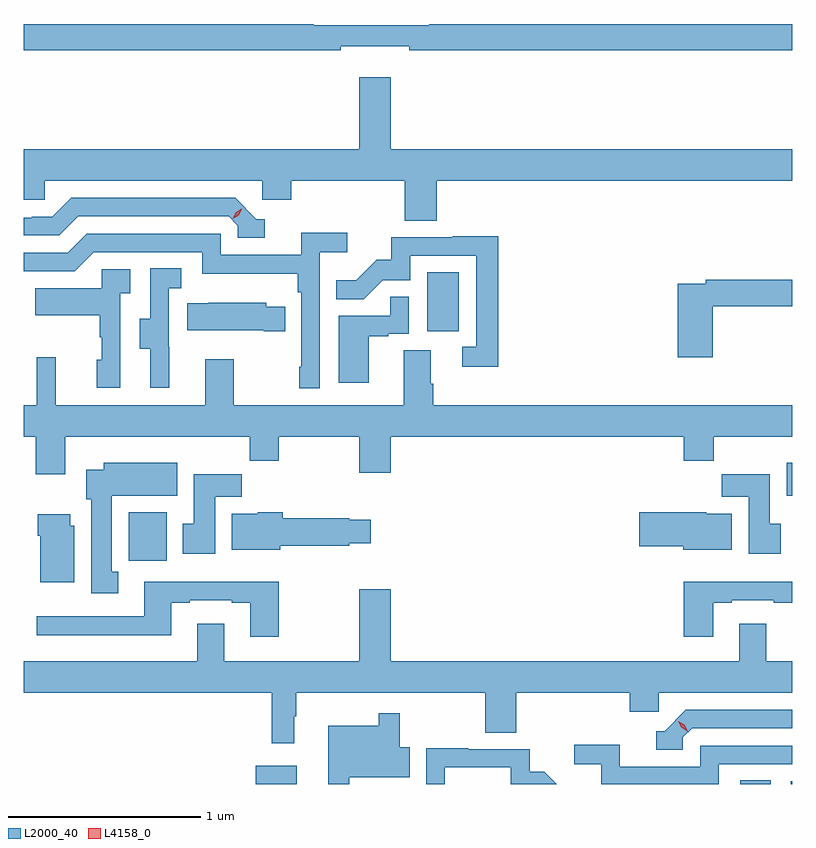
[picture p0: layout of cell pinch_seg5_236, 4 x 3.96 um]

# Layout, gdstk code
import gdstk
lib = gdstk.Library(unit=1e-6, precision=1e-09)
def R(c, l, rs):  # rectangles x0, y0, x1, y1
    for r in rs: c.add(gdstk.rectangle(r[:2], r[2:], *l))
def P(c, l, *ps):  # polygons
    for p in ps: c.add(gdstk.Polygon(p, *l))
L2000_40 = (2000, 40)
L4158_0 = (4158, 0)

pinch_seg5_236 = lib.new_cell('pinch_seg5_236')
R(pinch_seg5_236, L2000_40, [(955.676,902.905,955.891,903.001), (958.197,902.905,958.356,902.924), (958.461,902.905,958.469,902.919), (955.017,904.068,955.213,904.318), (958.439,904.406,958.469,904.576), (956.57,905.262,956.734,905.569)])
P(pinch_seg5_236, L2000_40, [(956.12,906.743),(956.476,906.743),(956.476,906.724),(958.469,906.724),(958.469,906.86),(956.579,906.86),(956.579,906.853),(955.979,906.853),(955.979,906.86),(954.469,906.86),(954.469,906.724),(956.12,906.724)],
  [(956.618,906.044),(958.469,906.044),(958.469,906.208),(956.38,906.208),(956.38,906.583),(956.216,906.583),(956.216,906.208),(954.469,906.208),(954.469,905.946),(954.579,905.946),(954.579,906.044),(955.71,906.044),(955.71,905.946),(955.862,905.946),(955.862,906.044),(956.453,906.044),(956.453,905.836),(956.618,905.836)],
  [(955.723,905.844),(955.68,905.844),(955.569,905.955),(954.716,905.955),(954.617,905.856),(954.51,905.856),(954.51,905.853),(954.469,905.853),(954.469,905.76),(954.654,905.76),(954.753,905.859),(955.536,905.859),(955.584,905.811),(955.584,905.748),(955.723,905.748)],
  [(956.01,905.672),(956.152,905.672),(956.152,905.774),(955.913,905.774),(955.913,905.658),(955.494,905.658),(955.494,905.769),(954.797,905.769),(954.698,905.67),(954.469,905.67),(954.469,905.574),(954.735,905.574),(954.834,905.673),(955.398,905.673),(955.398,905.561),(955.894,905.561),(955.894,905.465),(955.914,905.465),(955.914,905.077),(955.902,905.077),(955.902,904.965),(956.01,904.965)],
  [(956.939,905.756),(956.701,905.756),(956.701,905.751),(956.383,905.751),(956.383,905.634),(956.306,905.634),(956.199,905.527),(956.095,905.527),(956.095,905.428),(956.239,905.428),(956.337,905.526),(956.481,905.526),(956.481,905.655),(956.823,905.655),(956.823,905.181),(956.751,905.181),(956.751,905.076),(956.939,905.076)],
  [(955.226,905.181),(955.224,905.181),(955.224,905.485),(955.288,905.485),(955.288,905.588),(955.128,905.588),(955.128,905.325),(955.073,905.325),(955.073,905.17),(955.127,905.17),(955.127,904.968),(955.226,904.968)],
  [(954.972,905.459),(955.024,905.459),(955.024,905.583),(954.876,905.583),(954.876,905.485),(954.529,905.485),(954.529,905.345),(954.864,905.345),(954.864,905.231),(954.874,905.231),(954.874,905.112),(954.848,905.112),(954.848,904.968),(954.972,904.968)],
  [(958.055,905.392),(958.469,905.392),(958.469,905.528),(958.018,905.528),(958.018,905.508),(957.872,905.508),(957.872,905.127),(958.055,905.127)],
  [(956.266,905.235),(956.366,905.235),(956.366,905.247),(956.472,905.247),(956.472,905.441),(956.377,905.441),(956.377,905.343),(956.108,905.343),(956.108,904.992),(956.266,904.992)],
  [(955.829,905.389),(955.731,905.389),(955.731,905.41),(955.429,905.41),(955.429,905.407),(955.321,905.407),(955.321,905.267),(955.718,905.267),(955.718,905.26),(955.829,905.26)],
  [(954.685,904.712),(955.645,904.712),(955.645,904.588),(955.797,904.588),(955.797,904.712),(956.216,904.712),(956.216,904.524),(956.38,904.524),(956.38,904.712),(957.905,904.712),(957.905,904.588),(958.061,904.588),(958.061,904.712),(958.469,904.712),(958.469,904.876),(956.6,904.876),(956.6,904.988),(956.587,904.988),(956.587,905.162),(956.447,905.162),(956.447,904.876),(955.563,904.876),(955.563,905.116),(955.415,905.116),(955.415,904.876),(954.635,904.876),(954.635,905.125),(954.537,905.125),(954.537,904.876),(954.469,904.876),(954.469,904.712),(954.533,904.712),(954.533,904.518),(954.685,904.518)],
  [(954.961,904.009),(954.928,904.009),(954.928,904.406),(955.267,904.406),(955.267,904.576),(954.887,904.576),(954.887,904.54),(954.794,904.54),(954.794,904.386),(954.821,904.386),(954.821,903.897),(954.961,903.897)],
  [(955.465,904.4),(955.604,904.4),(955.604,904.518),(955.355,904.518),(955.355,904.26),(955.298,904.26),(955.298,904.104),(955.465,904.104)],
  [(958.408,904.26),(958.351,904.26),(958.351,904.518),(958.102,904.518),(958.102,904.4),(958.241,904.4),(958.241,904.104),(958.408,904.104)],
  [(955.804,904.145),(956.162,904.145),(956.162,904.157),(956.275,904.157),(956.275,904.279),(956.162,904.279),(956.162,904.287),(955.817,904.287),(955.817,904.318),(955.686,904.318),(955.686,904.312),(955.553,904.312),(955.553,904.124),(955.804,904.124)],
  [(958.153,904.312),(958.02,904.312),(958.02,904.318),(957.672,904.318),(957.672,904.142),(957.902,904.142),(957.902,904.124),(958.153,904.124)],
  [(954.733,904.248),(954.712,904.248),(954.712,904.309),(954.542,904.309),(954.542,904.196),(954.554,904.196),(954.554,903.956),(954.733,903.956)],
  [(955.797,903.958),(955.097,903.958),(955.097,903.777),(954.537,903.777),(954.537,903.68),(955.237,903.68),(955.237,903.849),(955.333,903.849),(955.333,903.861),(955.553,903.861),(955.553,903.849),(955.649,903.849),(955.649,903.672),(955.797,903.672)],
  [(958.057,903.849),(958.153,903.849),(958.153,903.861),(958.373,903.861),(958.373,903.849),(958.469,903.849),(958.469,903.958),(957.905,903.958),(957.905,903.672),(958.057,903.672)],
  [(955.876,903.257),(955.888,903.257),(955.888,903.38),(956.872,903.38),(956.872,903.172),(957.032,903.172),(957.032,903.38),(957.623,903.38),(957.623,903.282),(957.774,903.282),(957.774,903.38),(958.469,903.38),(958.469,903.544),(958.333,903.544),(958.333,903.739),(958.193,903.739),(958.193,903.544),(956.38,903.544),(956.38,903.919),(956.216,903.919),(956.216,903.544),(955.513,903.544),(955.513,903.739),(955.373,903.739),(955.373,903.544),(954.469,903.544),(954.469,903.38),(955.759,903.38),(955.759,903.117),(955.876,903.117)],
  [(957.9,903.147),(957.948,903.195),(958.469,903.195),(958.469,903.291),(957.915,903.291),(957.804,903.18),(957.761,903.18),(957.761,903.084),(957.9,903.084)],
  [(956.164,902.939),(956.479,902.939),(956.479,903.097),(956.425,903.097),(956.425,903.274),(956.316,903.274),(956.316,903.208),(956.054,903.208),(956.054,902.905),(956.164,902.905)],
  [(958.086,903.009),(958.469,903.009),(958.469,903.105),(957.99,903.105),(957.99,902.994),(957.572,902.994),(957.572,903.11),(957.333,903.11),(957.333,903.008),(957.474,903.008),(957.474,902.905),(958.086,902.905)],
  [(956.661,902.991),(957.003,902.991),(957.003,902.905),(957.243,902.905),(957.178,902.97),(957.102,902.97),(957.102,903.087),(956.783,903.087),(956.783,903.092),(956.565,903.092),(956.565,902.905),(956.661,902.905)])
P(pinch_seg5_236, L4158_0, [(957.923,903.18),(957.892,903.2),(957.876,903.232),(957.876,903.232),(957.876,903.232),(957.907,903.213),(957.924,903.18),(957.924,903.18)],
  [(955.558,905.847),(955.558,905.847),(955.574,905.88),(955.605,905.899),(955.605,905.899),(955.605,905.899),(955.589,905.866),(955.558,905.847)])

lib.write_gds('pinch_seg5_236.gds')
